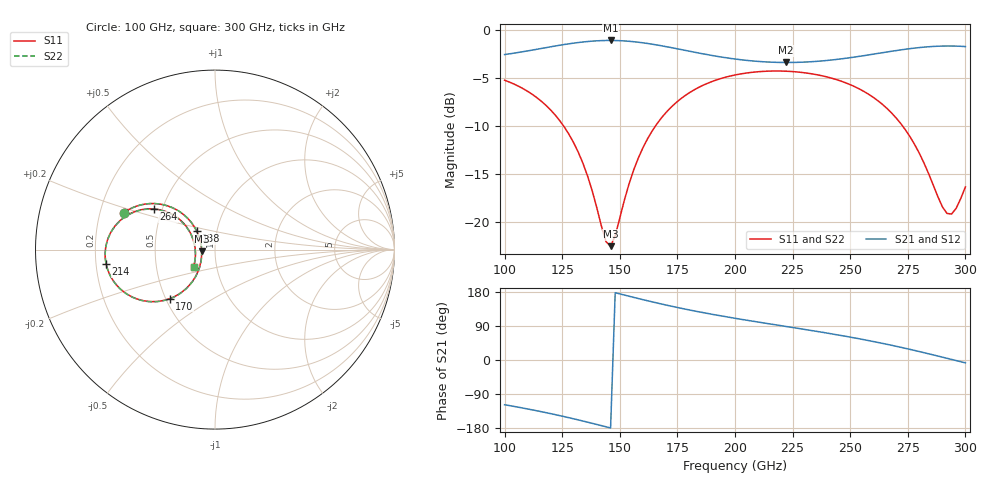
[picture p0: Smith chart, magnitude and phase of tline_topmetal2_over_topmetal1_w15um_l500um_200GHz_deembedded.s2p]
! Created with skrf 2.2.0 (http://scikit-rf.org).
# GHz S DB R 50.0
! Port[1] = P1
! Port[2] = P2
!freq dBS11 angS11 dBS21 angS21 dBS12 angS12 dBS22 angS22
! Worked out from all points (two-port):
!   101 points, 100 GHz to 300 GHz, reference 50 ohm
!   highest |S21| = -1.07 dB at 146 GHz (marker M1); lowest = -3.4 dB at 222 GHz (marker M2)
!   |S21| within 3 dB of the highest: start of sweep to end of sweep
!   lowest |S11| = -22.5 dB at 146 GHz (marker M3), VSWR 1.16, Z = 43.1 - j0.871 ohm
!   |S11| at or under -10 dB: 125.6 GHz to 165.4 GHz (39.81 GHz wide, 27.4 % of centre); 272.8 GHz to end of sweep
!   |S22| runs from -22.6 to -4.3 dB; largest |S21 - S12| = 9.5e-14
!   S11 on the Smith chart (normalised r, x): 100 GHz: 0.30, +0.18; 138 GHz: 0.80, +0.17; 170 GHz: 0.52, -0.33; 214 GHz: 0.24, -0.06; 264 GHz: 0.45, +0.24; 300 GHz: 0.77, -0.15
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100  -5.21 158.1  -2.53 -118.1  -2.53 -118.1  -5.21 158.1
120  -8.32 139.2  -1.73 -141.5  -1.73 -141.5  -8.32 139.2
128  -10.88 132.9  -1.41 -152.4  -1.41 -152.4  -10.88 132.8
134  -13.87 131.1  -1.22 -161.1  -1.22 -161.1  -13.88 131.0
138  -16.73 134.6  -1.14 -167.1  -1.14 -167.1  -16.75 134.4
144  -22.05 165.7  -1.07 -176.3  -1.07 -176.3  -22.12 165.5
146  -22.52 -172.3  -1.07 -179.3  -1.07 -179.3  -22.61 -172.3
158  -13.35 -125.4  -1.25 162.3  -1.25 162.3  -13.36 -125.1
168  -9.16 -131.0  -1.62 147.9  -1.62 147.9  -9.17 -130.7
170  -8.60 -132.7  -1.71 145.2  -1.71 145.2  -8.60 -132.5
184  -5.99 -146.0  -2.36 127.6  -2.36 127.6  -5.99 -145.8
200  -4.67 -160.6  -3.00 110.1  -3.00 110.1  -4.67 -160.4
214  -4.27 -172.4  -3.31 96.3  -3.31 96.3  -4.27 -172.2
222  -4.27 -179.0  -3.36 88.6  -3.36 88.6  -4.27 -178.8
234  -4.57 171.3  -3.27 77.0  -3.27 77.0  -4.57 171.5
250  -5.67 158.0  -2.86 60.4  -2.86 60.4  -5.67 158.2
264  -7.73 146.5  -2.34 43.9  -2.34 43.9  -7.73 146.7
268  -8.64 143.6  -2.19 38.8  -2.19 38.8  -8.63 143.8
278  -11.93 139.6  -1.86 25.1  -1.86 25.1  -11.92 139.9
292  -19.10 175.6  -1.64 4.5  -1.64 4.5  -19.05 175.9
296  -18.57 -158.2  -1.66 -1.5  -1.66 -1.5  -18.52 -158.2
300  -16.34 -141.5  -1.70 -7.5  -1.70 -7.5  -16.31 -141.5
